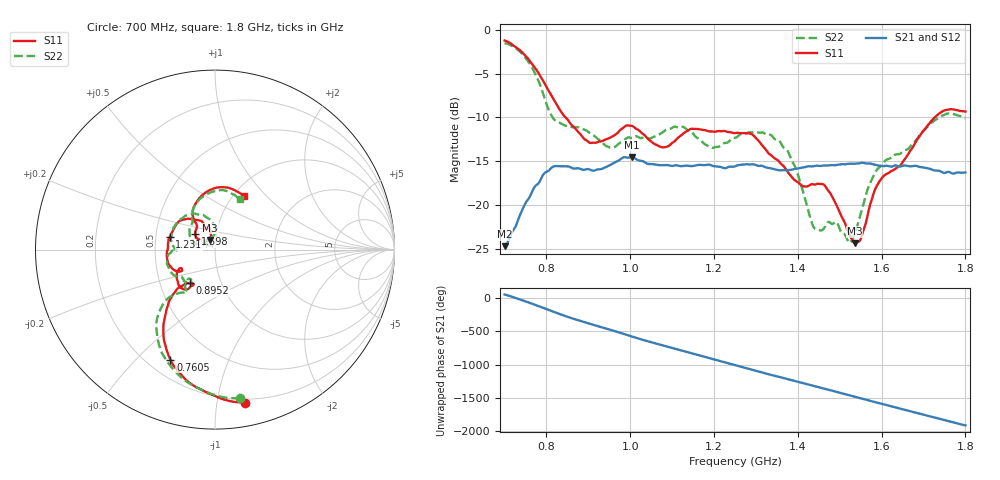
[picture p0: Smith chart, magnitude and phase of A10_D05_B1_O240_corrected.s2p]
! Created with skrf 1.9.0 (http://scikit-rf.org).
# Hz S RI R 50.0
!freq ReS11 ImS11 ReS21 ImS21 ReS12 ImS12 ReS22 ImS22
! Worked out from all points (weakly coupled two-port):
!   1601 points, 700 MHz to 1.8 GHz, reference 50 ohm
!   highest |S21| = -14.51 dB at 1.003 GHz (marker M1); lowest = -24.7 dB at 700 MHz (marker M2)
!   lowest |S11| = -24.4 dB at 1.536 GHz (marker M3), VSWR 1.13, Z = 47.1 + j5.09 ohm
!   |S11| at or under -10 dB: 845.6 MHz to 1.727 GHz (881.1 MHz wide, 68.5 % of centre)
!   |S22| runs from -24.3 to -1.5 dB; largest |S21 - S12| = 0.0036
!   S11 on the Smith chart (normalised r, x): 700 MHz: 0.17, -1.20; 760.5 MHz: 0.29, -0.63; 895.2 MHz: 0.71, -0.28; 1.231 GHz: 0.59, +0.09; 1.598 GHz: 0.79, +0.14; 1.8 GHz: 1.12, +0.76
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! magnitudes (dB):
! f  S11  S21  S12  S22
! 700 MHz  -1.2  -24.7  -24.5  -1.5
! 760.5 MHz  -3.6  -19.0  -18.9  -3.9
! 816.9 MHz  -7.9  -15.6  -15.7  -10.2
! 883.6 MHz  -12.1  -15.9  -15.8  -11.3
! 895.2 MHz  -12.6  -15.9  -16.0  -11.5
! 953 MHz  -12.3  -15.4  -15.4  -13.4
! 1.003 GHz  -11.0  -14.5  -14.6  -12.4
! 1.067 GHz  -13.2  -15.4  -15.4  -12.0
! 1.124 GHz  -11.9  -15.6  -15.5  -11.1
! 1.192 GHz  -11.6  -15.4  -15.4  -13.4
! 1.231 GHz  -11.6  -15.7  -15.7  -12.9
! 1.25 GHz  -11.8  -15.6  -15.5  -12.3
! 1.357 GHz  -15.1  -16.0  -16.0  -12.7
! 1.395 GHz  -17.2  -15.9  -15.9  -15.8
! 1.434 GHz  -17.6  -15.6  -15.6  -22.1
! 1.468 GHz  -18.0  -15.5  -15.5  -22.2
! 1.536 GHz  -24.4  -15.3  -15.3  -23.3
! 1.569 GHz  -20.6  -15.3  -15.3  -17.9
! 1.598 GHz  -17.1  -15.5  -15.5  -15.6
! 1.617 GHz  -16.3  -15.6  -15.5  -14.7
! 1.735 GHz  -9.6  -16.1  -16.1  -10.1
! 1.8 GHz  -9.3  -16.3  -16.3  -10.1
